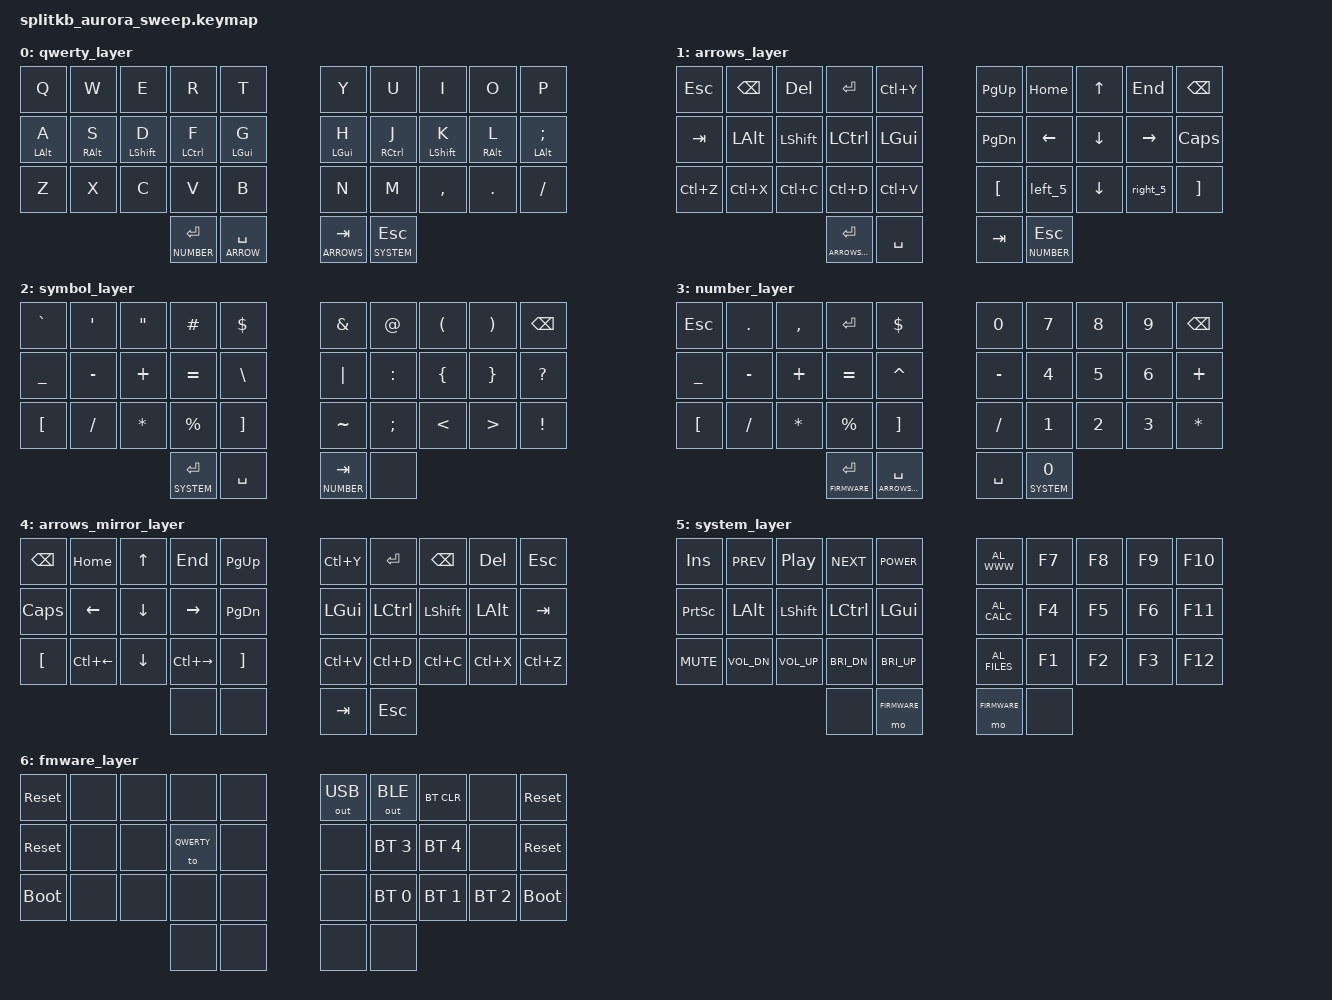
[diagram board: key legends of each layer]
/*
 * Copyright (c) 2020 The ZMK Contributors
 *
 * SPDX-License-Identifier: MIT
 */

#include <behaviors.dtsi>
#include <dt-bindings/zmk/bt.h>
#include <dt-bindings/zmk/keys.h>
#include <dt-bindings/zmk/outputs.h>

// Layer definitions

#define QWERTY 0
#define ARROWS 1
#define SYMBOL 2
#define NUMBER 3
#define ARROWS_MIRROR 4
#define SYSTEM 5
#define FMWARE 6

// -----------------

&mt {
    flavor = "tap-preferred";
    tapping_term_ms = <200>;
};

/ {
    combos {
        compatible = "zmk,combos";

        combo_caps {
            timeout-ms = <50>;
            key-positions = <6 7 8>;
            bindings = <&caps_word>;
        };

        combo_enter {
            timeout-ms = <50>;
            key-positions = <26 27 28>;
            bindings = <&kp ENTER>;
        };
    };

    macros {
        left_5: left_5 {
            compatible = "zmk,behavior-macro";
            #binding-cells = <0>;
            bindings = <&kp LEFT &kp LEFT &kp LEFT &kp LEFT &kp LEFT>;
            label = "LEFT_5";
            wait-ms = <5>;
            tap-ms = <5>;
        };
        right_5: right_5 {
            compatible = "zmk,behavior-macro";
            #binding-cells = <0>;
            bindings = <&kp RIGHT &kp RIGHT &kp RIGHT &kp RIGHT &kp RIGHT>;
            label = "RIGHT_5";
            wait-ms = <5>;
            tap-ms = <5>;
        };
    };

    keymap {
        compatible = "zmk,keymap";

        qwerty_layer {
            // ------------------------------------------------------------------------------------------------------------------
            // |    Q    |    W    |    E    |    R    |    T    |            |    Y    |    U    |    I    |    O    |    P    |
            // |    A    |    S    |    D    |    F    |    G    |            |    H    |    J    |    K    |    L    |    ;    |
            // |    Z    |    X    |    C    |    V    |    B    |            |    N    |    M    |    ,    |    .    |    /    |
            //                               | NUM/ENT | ARR/SPC |            | ARR/TAB | SYM/ESC |

            bindings = <
&kp Q       &kp W       &kp E        &kp R        &kp T          &kp Y       &kp U        &kp I        &kp O       &kp P
&mt LALT A  &mt RALT S  &mt LSHFT D  &mt LCTRL F  &mt LGUI G     &mt LGUI H  &mt RCTRL J  &mt LSHFT K  &mt RALT L  &mt LALT SEMI
&kp Z       &kp X       &kp C        &kp V        &kp B          &kp N       &kp M        &kp COMMA    &kp DOT     &kp SLASH
                                     &lt NUMBER ENTER  &lt ARROW SPACE    &lt ARROWS TAB   &lt SYSTEM ESC
            >;
        };

        arrows_layer {
            // ------------------------------------------------------------------------------------------------------------------
            // |   ESC   |   BSPC  |   DEL   |  ENTER  | CTRL Y  |            | PG UP   |   HOME  |    ⬆    |   END   |   BSPC  |
            // |   TAB   |  LALT   |  LSHFT  |  LCTRL  |  LGUI   |            | PG DN   |    ⬅    |    ⬇    |    →    |   CAPS  |
            // | CTRL Z  | CTRL X  | CTRL C  | CTRL D  | CTRL V  |            |    [    |   5  ←  |    ⬇    |   5  →  |    ]    |
            //                               |ARRM/ENTE|  SPACE  |            |   TAB   | NUM/ESC |

            bindings = <
&kp ESC    &kp BSPC   &kp DEL    &kp ENTER    &kp LC(Y)    &kp PG_UP  &kp HOME   &kp UP    &kp END    &kp BSPC
&kp TAB    &kp LALT   &kp LSHFT  &kp LCTRL    &kp LGUI     &kp PG_DN  &kp LEFT   &kp DOWN  &kp RIGHT  &kp CAPS
&kp LC(Z)  &kp LC(X)  &kp LC(C)  &kp LC(D)    &kp LC(V)    &kp LBKT   &left_5    &kp DOWN  &right_5   &kp RBKT
                                 &lt ARROWS_MIRROR ENTER  &kp SPACE    &kp TAB    &lt NUMBER ESC
            >;
        };

        symbol_layer {
            // ------------------------------------------------------------------------------------------------------------------
            // |    `    |    '    |    "    |    #    |    $    |            |    &    |    @    |    (    |    )    |   BSPC  |
            // |    _    |    -    |    +    |    =    |    \    |            |    |    |    :    |    {    |    }    |    ?    |
            // |    [    |    /    |    *    |    %    |    ]    |            |    ~    |    ;    |    <    |    >    |    !    |
            //                               | SYS/ENT |  SPACE  |            | NUM/TAB |         | 

            bindings = <
&kp GRAVE       &kp SQT    &kp DQT       &kp HASH     &kp DOLLAR       &kp AMPS   &kp AT_SIGN    &kp LPAR  &kp RPAR  &kp BSPC
&kp UNDERSCORE  &kp MINUS  &kp PLUS      &kp EQUAL    &kp BACKSLASH    &kp PIPE   &kp COLON      &kp LBRC  &kp RBRC  &kp QMARK
&kp LBKT        &kp SLASH  &kp ASTERISK  &kp PERCENT  &kp RBKT         &kp TILDE  &kp SEMICOLON  &kp LT    &kp GT    &kp EXCL
                                         &lt SYSTEM ENTER  &kp SPACE        &lt NUMBER TAB  &none
            >;
        };

        number_layer {
            // ------------------------------------------------------------------------------------------------------------------
            // |   ESC   |    .    |    ,    |   ENT   |    $    |            |    0    |    7    |    8    |    9    |   BSPC  |
            // |    _    |    -    |    +    |    =    |    ^    |            |    -    |    4    |    5    |    6    |    +    |
            // |    [    |    /    |    *    |    %    |    ]    |            |    /    |    1    |    2    |    3    |    *    |
            //                               | FMW/ENT |ARRM/SPAC|            |  SPACE  |  SYS/0  |

            bindings = <
&kp ESC         &kp DOT    &kp COMMA     &kp ENTER    &kp DOLLAR     &kp N0     &kp N7    &kp N8  &kp N9  &kp BSPC
&kp UNDERSCORE  &kp MINUS  &kp PLUS      &kp EQUAL    &kp CARET      &kp MINUS  &kp N4    &kp N5  &kp N6  &kp PLUS
&kp LBKT        &kp SLASH  &kp ASTERISK  &kp PERCENT  &kp RBKT       &kp SLASH  &kp N1    &kp N2  &kp N3  &kp ASTERISK
                                         &lt FIRMWARE ENTER  &lt ARROWS_MIRROR SPACE    &kp SPACE  &lt SYSTEM N0
            >;
        };

        arrows_mirror_layer {
            // ------------------------------------------------------------------------------------------------------------------
            // |  BSPC   |   HOME  |    ⬆    |   END   |  PG UP  |				| CTRL Y  |  ENTER  |   BSPC  |   DEL   |   ESC   |
            // |  CAPS   |    ⬅    |    ⬇    |    →    |  PG DN  |				|  LGUI   |  LCTRL  |  LSHFT  |  LALT   |   TAB   |
            // |    [    |  CTL ←  |    ⬇    |  CTL →  |    ]    |				| CTRL V  | CTRL D  | CTRL C  | CTRL X  | CTRL Z  |
            // 				                 |         |         |				|   TAB   |   ESC   |

            bindings = <
&kp BSPC  &kp HOME      &kp UP    &kp END        &kp PG_UP    &kp LC(Y)  &kp ENTER  &kp BSPC   &kp DEL    &kp ESC
&kp CAPS  &kp LEFT      &kp DOWN  &kp RIGHT      &kp PG_DN    &kp LGUI   &kp LCTRL  &kp LSHFT  &kp LALT   &kp TAB
&kp LBKT  &kp LC(LEFT)  &kp DOWN  &kp LC(RIGHT)  &kp RBKT     &kp LC(V)  &kp LC(D)  &kp LC(C)  &kp LC(X)  &kp LC(Z)
                                  &none          &none        &kp TAB    &kp ESC
            >;
        };

        system_layer {
            // ------------------------------------------------------------------------------------------------------------------
            // |   INS   |   PREV  |  PAUSE  |   NEXT  |  POWER  |            |   WWW   |   F7    |   F8    |   F9    |   F10   |
            // |  PSCRN  |  LALT   |  LSHFT  |  LCTRL  |  LGUI   |            |  CALC   |   F4    |   F5    |   F6    |   F11   |
            // |   MUTE  | VOL DN  |  VOL UP |  BRI UP | BRI DN  |            |  FILES  |   F1    |   F2    |   F3    |   F12   |
            //                               |         | FMWARE  |            | FMWARE  |         |

            bindings = <
&kp INS     &kp C_PREV    &kp C_PLAY_PAUSE  &kp C_NEXT    &kp C_POWER     &kp C_AL_WWW    &kp F7  &kp F8  &kp F9  &kp F10
&kp PSCRN   &kp LALT      &kp LSHFT         &kp LCTRL     &kp LGUI        &kp C_AL_CALC   &kp F4  &kp F5  &kp F6  &kp F11
&kp C_MUTE  &kp C_VOL_DN  &kp C_VOL_UP      &kp C_BRI_DN  &kp C_BRI_UP    &kp C_AL_FILES  &kp F1  &kp F2  &kp F3  &kp F12
                                            &none         &mo FIRMWARE           &mo FIRMWARE         &none
            >;
        };

        fmware_layer {
            // ------------------------------------------------------------------------------------------------------------------
            // |  RESET  |         |         |         |         |            | OUT USB | OUT BT  |BT CLEAR |         |  RESET  |
            // |  RESET  |         |  QWERTY |         |         |            |         |  BT 3   |   BT 4  |         |  RESET  |
            // |  BOOT   |         |         |         |         |            |         |  BT 0   |   BT 1  |   BT 2  |  BOOT   |
            //                               |         |         |            |         |         |

            bindings = <
&sys_reset   &none  &none  &none       &none    &out OUT_USB  &out OUT_BLE  &bt BT_CLR    &none         &sys_reset
&sys_reset   &none  &none  &to QWERTY  &none    &none         &bt BT_SEL 3  &bt BT_SEL 4  &none         &sys_reset
&bootloader  &none  &none  &none       &none    &none         &bt BT_SEL 0  &bt BT_SEL 1  &bt BT_SEL 2  &bootloader
                           &none       &none    &none         &none
            >;
        };
    };
};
